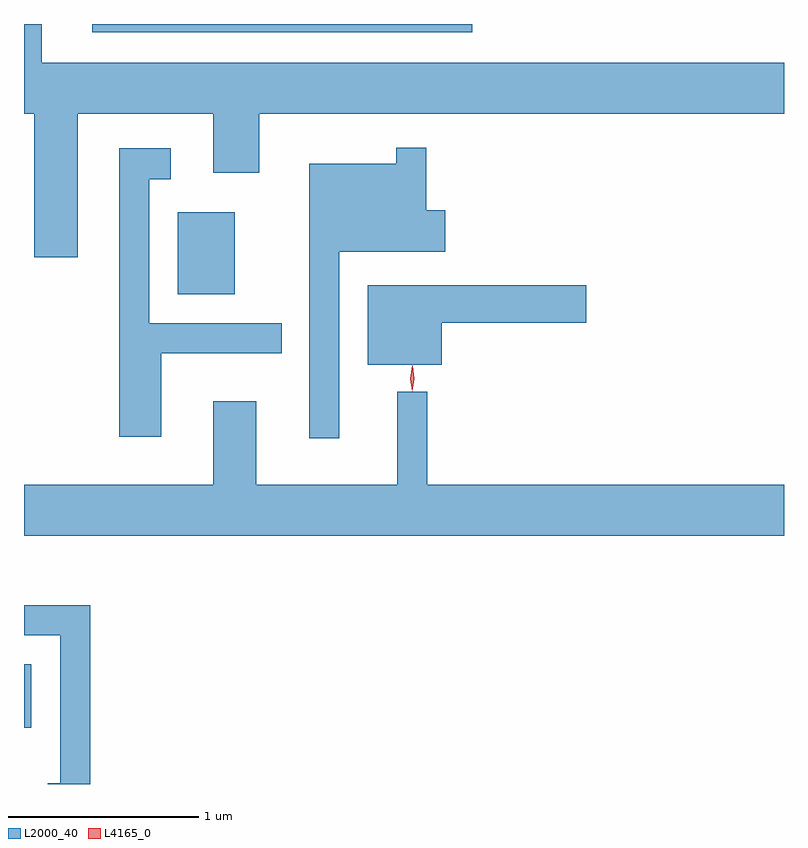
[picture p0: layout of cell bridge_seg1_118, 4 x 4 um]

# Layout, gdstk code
import gdstk
lib = gdstk.Library(unit=1e-6, precision=1e-09)
def R(c, l, rs):  # rectangles x0, y0, x1, y1
    for r in rs: c.add(gdstk.rectangle(r[:2], r[2:], *l))
def P(c, l, *ps):  # polygons
    for p in ps: c.add(gdstk.Polygon(p, *l))
L2000_40 = (2000, 40)
L4165_0 = (4165, 0)

bridge_seg1_118 = lib.new_cell('bridge_seg1_118')
R(bridge_seg1_118, L2000_40, [(1429.496,854.166,1429.534,854.499), (1430.306,856.446,1430.604,856.879), (1429.856,857.826,1431.854,857.869)])
P(bridge_seg1_118, L2000_40, [(1429.779,857.396),(1430.491,857.396),(1430.491,857.086),(1430.734,857.086),(1430.734,857.396),(1433.496,857.396),(1433.496,857.664),(1429.589,857.664),(1429.589,857.869),(1429.496,857.869),(1429.496,857.396),(1429.551,857.396),(1429.551,856.641),(1429.779,856.641)],
  [(1431.154,856.671),(1431.714,856.671),(1431.714,856.889),(1431.614,856.889),(1431.614,857.218),(1431.456,857.218),(1431.456,857.134),(1430.996,857.134),(1430.996,855.688),(1431.154,855.688)],
  [(1430.219,856.136),(1430.853,856.136),(1430.853,856.294),(1430.154,856.294),(1430.154,857.051),(1430.268,857.051),(1430.268,857.214),(1429.996,857.214),(1429.996,855.696),(1430.219,855.696)],
  [(1431.694,856.296),(1432.454,856.296),(1432.454,856.494),(1431.306,856.494),(1431.306,856.076),(1431.694,856.076)],
  [(1433.496,855.444),(1431.619,855.444),(1431.619,855.933),(1431.461,855.933),(1431.461,855.444),(1430.719,855.444),(1430.719,855.884),(1430.491,855.884),(1430.491,855.444),(1429.496,855.444),(1429.496,855.176),(1433.496,855.176)],
  [(1429.844,854.809),(1429.496,854.809),(1429.496,854.651),(1429.686,854.651),(1429.686,853.874),(1429.621,853.874),(1429.621,853.869),(1429.844,853.869)])
P(bridge_seg1_118, L4165_0, [(1431.54,855.935),(1431.539,855.936),(1431.53,856.003),(1431.54,856.07),(1431.54,856.071),(1431.541,856.07),(1431.55,856.003),(1431.54,855.936)])

lib.write_gds('bridge_seg1_118.gds')
